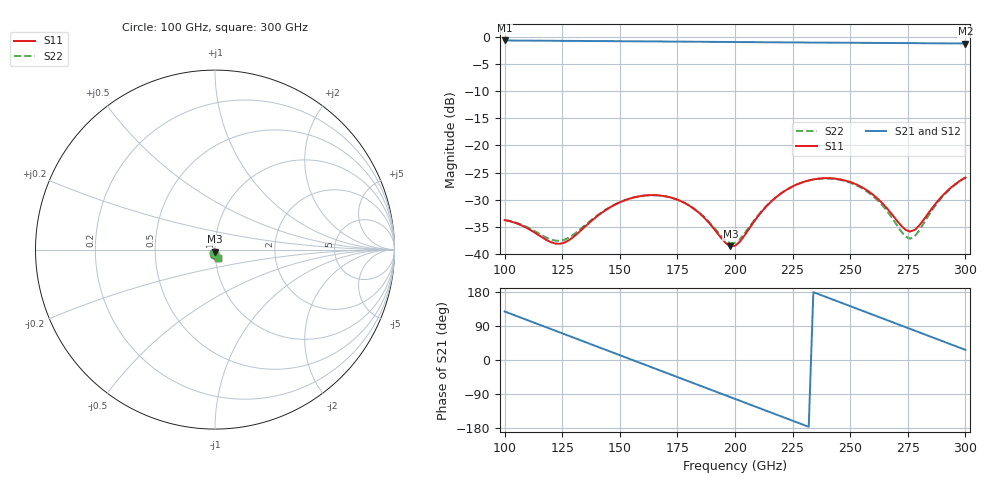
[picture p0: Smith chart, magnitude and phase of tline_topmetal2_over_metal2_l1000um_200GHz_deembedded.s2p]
! Created with skrf 2.2.0 (http://scikit-rf.org).
# GHz S DB R 50.0
! Port[1] = P1
! Port[2] = P2
!freq dBS11 angS11 dBS21 angS21 dBS12 angS12 dBS22 angS22
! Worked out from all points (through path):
!   101 points, 100 GHz to 300 GHz, reference 50 ohm
!   highest |S21| = -0.59 dB at 100 GHz (marker M1); lowest = -1.1 dB at 300 GHz (marker M2)
!   group delay of S21, straight-line fit = 6.41 ps
!   lowest |S11| = -38.6 dB at 198 GHz (marker M3), VSWR 1.02, Z = 49.8 - j1.16 ohm
!   |S11| at or under -10 dB: start of sweep to end of sweep
!   |S22| runs from -38.1 to -26.0 dB; largest |S21 - S12| = 1e-13
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100  -33.80 -104.2  -0.59 128.1  -0.59 128.1  -33.77 -103.9
108  -34.90 -110.9  -0.61 109.6  -0.61 109.6  -34.76 -110.1
116  -36.91 -109.1  -0.63 91.1  -0.63 91.1  -36.55 -108.3
124  -38.17 -91.0  -0.65 72.7  -0.65 72.7  -37.62 -92.0
134  -35.35 -70.1  -0.68 49.6  -0.68 49.6  -35.08 -73.0
144  -31.91 -72.4  -0.71 26.6  -0.71 26.6  -31.83 -74.8
152  -30.16 -81.7  -0.73 8.1  -0.73 8.1  -30.14 -83.7
160  -29.29 -93.4  -0.75 -10.4  -0.75 -10.4  -29.29 -95.1
168  -29.28 -105.9  -0.78 -28.8  -0.78 -28.8  -29.28 -107.1
184  -32.31 -125.9  -0.83 -65.8  -0.83 -65.8  -32.25 -126.2
198  -38.62 -98.6  -0.87 -98.0  -0.87 -98.0  -38.06 -99.7
200  -38.55 -86.5  -0.88 -102.7  -0.88 -102.7  -37.98 -88.6
208  -34.23 -59.1  -0.90 -121.1  -0.90 -121.1  -34.03 -62.8
218  -29.51 -62.6  -0.93 -144.1  -0.93 -144.1  -29.48 -65.9
234  -26.27 -86.8  -0.97 179.0  -0.97 179.0  -26.32 -89.8
250  -26.76 -113.3  -1.01 142.1  -1.01 142.1  -26.88 -116.7
260  -29.13 -125.5  -1.04 119.1  -1.04 119.1  -29.39 -129.8
268  -32.66 -125.1  -1.06 100.6  -1.06 100.6  -33.28 -130.2
274  -35.59 -106.1  -1.07 86.8  -1.07 86.8  -36.84 -108.9
278  -35.61 -83.5  -1.08 77.5  -1.08 77.5  -36.79 -81.4
290  -29.31 -60.4  -1.12 49.8  -1.12 49.8  -29.49 -58.0
300  -25.91 -70.5  -1.15 26.8  -1.15 26.8  -25.97 -69.5
